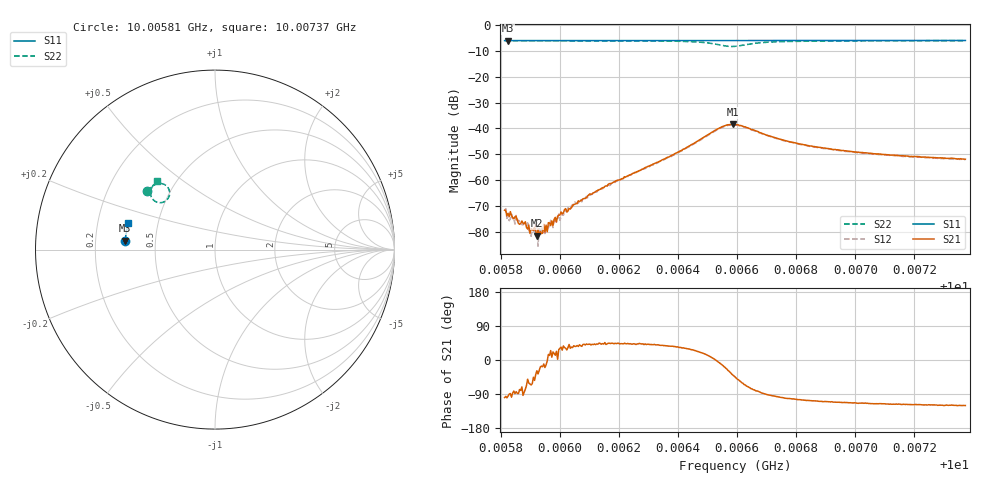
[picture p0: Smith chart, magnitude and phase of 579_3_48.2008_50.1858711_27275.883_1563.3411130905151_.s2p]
#  HZ  S  RI  R  50.00
! Rohde & Schwarz Vector Network Analyzer
! Rohde-Schwarz,ZNB20-2Port,1311601062101988,3.16
! Created: UTC 3/20/2024, 12:02:02 PM
! freq[Hz]  re:S11  im:S11  re:S21  im:S21  re:S12  im:S12  re:S22  im:S22
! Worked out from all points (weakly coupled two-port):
!   401 points, 10.00581 GHz to 10.00737 GHz, reference 50 ohm
!   highest |S21| = -38.38 dB at 10.00658 GHz (marker M1); lowest = -81.5 dB at 10.00592 GHz (marker M2)
!   lowest |S11| = -6.0 dB at 10.00582 GHz (marker M3), VSWR 3.02, Z = 16.6 + j2.21 ohm
!   |S11| at or under -10 dB: nowhere
!   |S22| runs from -8.3 to -6.0 dB; largest |S21 - S12| = 0.00082
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1.0005812e10  -0.4997 0.0488  -4.13e-05 -0.000256  -3.39e-05 -0.000254  -0.3772 0.3246
1.0005824e10  -0.4995 0.0498  -2.06e-05 -0.000225  1.46e-06 -0.000192  -0.3765 0.3253
1.0005883e10  -0.4993 0.0536  3.48e-05 -0.000151  7.08e-05 -0.000128  -0.3734 0.329
1.0005902e10  -0.4992 0.0549  4.67e-05 -0.000104  2.42e-05 -7.75e-05  -0.3726 0.3302
1.0005922e10  -0.4991 0.0561  7.37e-05 -3.96e-05  0.000119 -8.6e-05  -0.3714 0.3317
1.0005933e10  -0.499 0.0567  9.4e-05 -3.16e-05  8.56e-05 -1.52e-06  -0.3708 0.3322
1.0005949e10  -0.499 0.0578  9.24e-05 -3.34e-05  8.88e-05 2.17e-05  -0.3701 0.3332
1.0005976e10  -0.4988 0.0597  0.000122 4.74e-05  0.000118 1.43e-05  -0.3683 0.335
1.0005984e10  -0.4988 0.0602  0.000184 4.09e-05  0.000137 8.07e-05  -0.3679 0.3356
1.0006011e10  -0.4986 0.062  0.000184 0.000138  0.000168 0.000119  -0.3662 0.3373
1.0006031e10  -0.4984 0.0633  0.000211 0.000183  0.000243 0.000136  -0.365 0.3388
1.0006074e10  -0.4982 0.066  0.000332 0.000242  0.000278 0.000256  -0.3622 0.3416
1.0006171e10  -0.4975 0.0724  0.000617 0.000585  0.000568 0.000574  -0.3547 0.3487
1.0006335e10  -0.4961 0.0828  0.00175 0.00144  0.00164 0.00152  -0.335 0.3621
1.0006464e10  -0.4947 0.0914  0.00511 0.00217  0.00483 0.00239  -0.2964 0.3676
1.0006538e10  -0.4933 0.096  0.00998 -0.00108  0.00977 -0.000535  -0.2546 0.3297
1.0006585e10  -0.4927 0.0982  0.00931 -0.00766  0.00944 -0.00685  -0.2731 0.2726
1.0006593e10  -0.4927 0.0985  0.00844 -0.00837  0.0087 -0.00771  -0.2823 0.2667
1.0006679e10  -0.4924 0.1039  0.000635 -0.00819  0.00106 -0.00803  -0.3527 0.2893
1.0006854e10  -0.4905 0.1154  -0.00137 -0.00428  -0.00112 -0.00427  -0.3548 0.3391
1.0007116e10  -0.4871 0.132  -0.00138 -0.00274  -0.0012 -0.00275  -0.3391 0.3652
1.0007373e10  -0.4829 0.1482  -0.00127 -0.00218  -0.00111 -0.0022  -0.3247 0.3814
